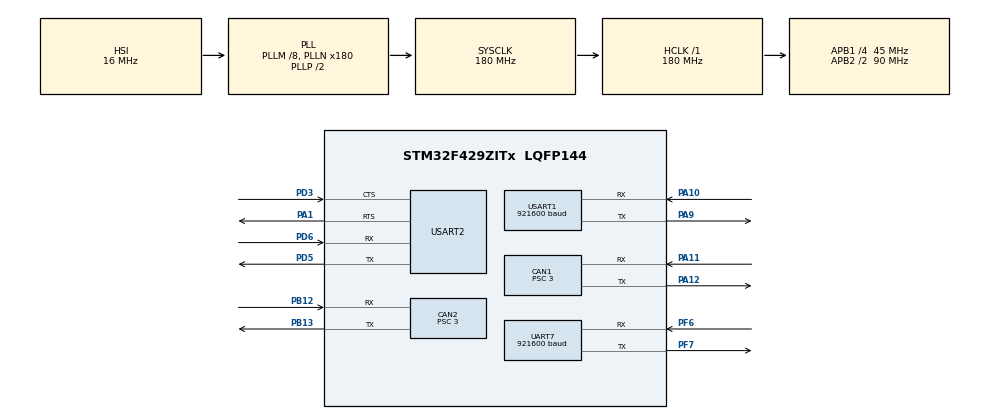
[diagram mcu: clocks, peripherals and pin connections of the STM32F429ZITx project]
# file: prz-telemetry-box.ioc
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CAN1.ABOM=ENABLE
CAN1.AWUM=ENABLE
CAN1.BS1=CAN_BS1_12TQ
CAN1.BS2=CAN_BS2_2TQ
CAN1.CalculateBaudRate=1000000
CAN1.CalculateTimeBit=1000
CAN1.CalculateTimeQuantum=66.66666666666666
CAN1.Mode=CAN_MODE_SILENT
CAN1.NART=ENABLE
CAN1.Prescaler=3
CAN2.ABOM=ENABLE
CAN2.AWUM=ENABLE
CAN2.BS1=CAN_BS1_12TQ
CAN2.BS2=CAN_BS2_2TQ
CAN2.CalculateBaudRate=1000000
CAN2.CalculateTimeBit=1000
CAN2.CalculateTimeQuantum=66.66666666666666
CAN2.Mode=CAN_MODE_NORMAL
CAN2.NART=ENABLE
CAN2.Prescaler=3
Dma.Request0=USART2_RX
Dma.Request1=UART7_RX
Dma.Request2=USART1_RX
Dma.UART7_RX.1.Direction=DMA_PERIPH_TO_MEMORY
Dma.UART7_RX.1.FIFOMode=DMA_FIFOMODE_DISABLE
Dma.UART7_RX.1.Instance=DMA1_Stream3
Dma.UART7_RX.1.MemDataAlignment=DMA_MDATAALIGN_BYTE
Dma.UART7_RX.1.MemInc=DMA_MINC_ENABLE
Dma.UART7_RX.1.Mode=DMA_CIRCULAR
Dma.UART7_RX.1.PeriphDataAlignment=DMA_PDATAALIGN_BYTE
Dma.UART7_RX.1.PeriphInc=DMA_PINC_DISABLE
Dma.UART7_RX.1.Priority=DMA_PRIORITY_LOW
Dma.USART1_RX.2.Direction=DMA_PERIPH_TO_MEMORY
Dma.USART1_RX.2.FIFOMode=DMA_FIFOMODE_DISABLE
Dma.USART1_RX.2.Instance=DMA2_Stream2
Dma.USART1_RX.2.MemDataAlignment=DMA_MDATAALIGN_BYTE
Dma.USART1_RX.2.MemInc=DMA_MINC_ENABLE
Dma.USART1_RX.2.Mode=DMA_CIRCULAR
Dma.USART1_RX.2.PeriphDataAlignment=DMA_PDATAALIGN_BYTE
Dma.USART1_RX.2.PeriphInc=DMA_PINC_DISABLE
Dma.USART1_RX.2.Priority=DMA_PRIORITY_LOW
Dma.USART2_RX.0.Direction=DMA_PERIPH_TO_MEMORY
Dma.USART2_RX.0.FIFOMode=DMA_FIFOMODE_DISABLE
Dma.USART2_RX.0.Instance=DMA1_Stream5
Dma.USART2_RX.0.MemDataAlignment=DMA_MDATAALIGN_BYTE
Dma.USART2_RX.0.MemInc=DMA_MINC_ENABLE
Dma.USART2_RX.0.Mode=DMA_CIRCULAR
Dma.USART2_RX.0.PeriphDataAlignment=DMA_PDATAALIGN_BYTE
Dma.USART2_RX.0.PeriphInc=DMA_PINC_DISABLE
Dma.USART2_RX.0.Priority=DMA_PRIORITY_HIGH
Mcu.Family=STM32F4
Mcu.Name=STM32F429ZITx
Mcu.Package=LQFP144
NVIC.CAN1_RX0_IRQn=true\:0\:0\:false\:false\:true\:true\:true\:true
NVIC.CAN1_RX1_IRQn=true\:0\:0\:false\:false\:true\:true\:true\:true
NVIC.CAN1_SCE_IRQn=true\:0\:0\:false\:false\:true\:true\:true\:true
NVIC.CAN2_RX0_IRQn=true\:0\:0\:false\:false\:true\:true\:true\:true
NVIC.CAN2_RX1_IRQn=true\:0\:0\:false\:false\:true\:true\:true\:true
NVIC.CAN2_SCE_IRQn=true\:0\:0\:false\:false\:true\:true\:true\:true
NVIC.DMA1_Stream3_IRQn=true\:0\:0\:false\:false\:true\:false\:true\:true
NVIC.DMA1_Stream5_IRQn=true\:0\:0\:true\:false\:true\:false\:true\:true
NVIC.DMA2_Stream2_IRQn=true\:0\:0\:false\:false\:true\:false\:true\:true
NVIC.PriorityGroup=NVIC_PRIORITYGROUP_4
NVIC.TIM2_IRQn=true\:0\:0\:false\:false\:true\:true\:true\:true
NVIC.UART7_IRQn=true\:0\:0\:false\:false\:true\:true\:true\:true
NVIC.USART1_IRQn=true\:0\:0\:false\:false\:true\:true\:true\:true
NVIC.USART2_IRQn=true\:0\:0\:true\:false\:true\:true\:true\:true
PA1.Mode=CTS_RTS
PA1.Signal=USART2_RTS
PA10.Mode=Asynchronous
PA10.Signal=USART1_RX
PA11.Mode=CAN_Activate
PA11.Signal=CAN1_RX
PA12.Mode=CAN_Activate
PA12.Signal=CAN1_TX
PA9.Mode=Asynchronous
PA9.Signal=USART1_TX
PB12.Mode=CAN_Activate
PB12.Signal=CAN2_RX
PB13.Mode=CAN_Activate
PB13.Signal=CAN2_TX
PD3.Mode=CTS_RTS
PD3.Signal=USART2_CTS
PD5.Mode=Asynchronous
PD5.Signal=USART2_TX
PD6.Mode=Asynchronous
PD6.Signal=USART2_RX
PF6.Mode=Asynchronous
PF6.Signal=UART7_RX
PF7.Mode=Asynchronous
PF7.Signal=UART7_TX
ProjectManager.HeapSize=0x200
ProjectManager.StackSize=0x400
ProjectManager.TargetToolchain=STM32CubeIDE
RCC.48MHZClocksFreq_Value=90000000
RCC.AHBFreq_Value=180000000
RCC.APB1CLKDivider=RCC_HCLK_DIV4
RCC.APB1Freq_Value=45000000
RCC.APB1TimFreq_Value=90000000
RCC.APB2CLKDivider=RCC_HCLK_DIV2
RCC.APB2Freq_Value=90000000
RCC.APB2TimFreq_Value=180000000
RCC.CortexFreq_Value=180000000
RCC.HCLKFreq_Value=180000000
RCC.HSE_VALUE=25000000
RCC.HSI_VALUE=16000000
RCC.LSE_VALUE=32768
RCC.PLLM=8
RCC.PLLN=180
RCC.SYSCLKFreq_VALUE=180000000
RCC.SYSCLKSource=RCC_SYSCLKSOURCE_PLLCLK
RCC.VCOOutputFreq_Value=360000000
RTC.Format=RTC_FORMAT_BCD
UART7.BaudRate=921600
UART7.VirtualMode=Asynchronous
USART1.BaudRate=921600
USART1.VirtualMode=VM_ASYNC
USART2.OverSampling=UART_OVERSAMPLING_8
USART2.VirtualMode=VM_ASYNC
VP_RTC_VS_RTC_Activate.Mode=RTC_Enabled
VP_RTC_VS_RTC_Calendar.Mode=RTC_Calendar
VP_TIM2_VS_ClockSourceINT.Mode=Internal
board=custom

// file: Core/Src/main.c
/* USER CODE BEGIN Header */
/**
  ******************************************************************************
  * @file           : main.c
  * @brief          : Main program body
  ******************************************************************************
  * @attention
  *
  * Copyright (c) 2024 STMicroelectronics.
  * All rights reserved.
  *
  * This software is licensed under terms that can be found in the LICENSE file
  * in the root directory of this software component.
  * If no LICENSE file comes with this software, it is provided AS-IS.
  *
  ******************************************************************************
  */
/* USER CODE END Header */
#include "main.h"
#include "can.h"
#include "dma.h"
#include "rtc.h"
#include "tim.h"
#include "usart.h"
#include "gpio.h"

/* USER CODE BEGIN Includes */

//#include "../frame_collector/frame_collector.h"
#include "../circular_buffers/can_frames_cb.h"

/* USER CODE END Includes */

/* USER CODE BEGIN PV */

uart_receiver_t usart1_rcvr;
uart_receiver_t usart2_rcvr;
uart_receiver_t uart7_rcvr;

gsm_t gsm;

#define RX_BUF_SIZE 255
  	uint8_t rx_buf[RX_BUF_SIZE];
  	uint16_t rx_index = 0;

#define STR_BUF_SIZE 512
	uint8_t str[STR_BUF_SIZE];
	uint16_t len;

CAN_RxHeaderTypeDef can_rx_header;
uint8_t can_rx_data[8];

can_frames_cb_t can_frames_cb = {0};

#define UDP_BUFFER_SIZE 1490
#define UDP_BUFFER_COUNT 5

typedef struct {
	uint8_t data[UDP_BUFFER_SIZE + 1];
	uint16_t len;
} udp_buffer_t;

udp_buffer_t udp_buffer[UDP_BUFFER_COUNT] = {0};
uint8_t udp_buffer_head = 0;
uint8_t udp_buffer_tail = 0;

//frame_collector_t fc;

// TODO: this is for tests. Move it to a separate file if it works

static const uint16_t crctab[256] = {
    0x0000U,0x365EU,0x6CBCU,0x5AE2U,0xD978U,0xEF26U,0xB5C4U,0x839AU,
    0xFF89U,0xC9D7U,0x9335U,0xA56BU,0x26F1U,0x10AFU,0x4A4DU,0x7C13U,
    0xB26BU,0x8435U,0xDED7U,0xE889U,0x6B13U,0x5D4DU,0x07AFU,0x31F1U,
    0x4DE2U,0x7BBCU,0x215EU,0x1700U,0x949AU,0xA2C4U,0xF826U,0xCE78U,
    0x29AFU,0x1FF1U,0x4513U,0x734DU,0xF0D7U,0xC689U,0x9C6BU,0xAA35U,
    0xD626U,0xE078U,0xBA9AU,0x8CC4U,0x0F5EU,0x3900U,0x63E2U,0x55BCU,
    0x9BC4U,0xAD9AU,0xF778U,0xC126U,0x42BCU,0x74E2U,0x2E00U,0x185EU,
    0x644DU,0x5213U,0x08F1U,0x3EAFU,0xBD35U,0x8B6BU,0xD189U,0xE7D7U,
    0x535EU,0x6500U,0x3FE2U,0x09BCU,0x8A26U,0xBC78U,0xE69AU,0xD0C4U,
    0xACD7U,0x9A89U,0xC06BU,0xF635U,0x75AFU,0x43F1U,0x1913U,0x2F4DU,
    0xE135U,0xD76BU,0x8D89U,0xBBD7U,0x384DU,0x0E13U,0x54F1U,0x62AFU,
    0x1EBCU,0x28E2U,0x7200U,0x445EU,0xC7C4U,0xF19AU,0xAB78U,0x9D26U,
    0x7AF1U,0x4CAFU,0x164DU,0x2013U,0xA389U,0x95D7U,0xCF35U,0xF96BU,
    0x8578U,0xB326U,0xE9C4U,0xDF9AU,0x5C00U,0x6A5EU,0x30BCU,0x06E2U,
    0xC89AU,0xFEC4U,0xA426U,0x9278U,0x11E2U,0x27BCU,0x7D5EU,0x4B00U,
    0x3713U,0x014DU,0x5BAFU,0x6DF1U,0xEE6BU,0xD835U,0x82D7U,0xB489U,
    0xA6BCU,0x90E2U,0xCA00U,0xFC5EU,0x7FC4U,0x499AU,0x1378U,0x2526U,
    0x5935U,0x6F6BU,0x3589U,0x03D7U,0x804DU,0xB613U,0xECF1U,0xDAAFU,
    0x14D7U,0x2289U,0x786BU,0x4E35U,0xCDAFU,0xFBF1U,0xA113U,0x974DU,
    0xEB5EU,0xDD00U,0x87E2U,0xB1BCU,0x3226U,0x0478U,0x5E9AU,0x68C4U,
    0x8F13U,0xB94DU,0xE3AFU,0xD5F1U,0x566BU,0x6035U,0x3AD7U,0x0C89U,
    0x709AU,0x46C4U,0x1C26U,0x2A78U,0xA9E2U,0x9FBCU,0xC55EU,0xF300U,
    0x3D78U,0x0B26U,0x51C4U,0x679AU,0xE400U,0xD25EU,0x88BCU,0xBEE2U,
    0xC2F1U,0xF4AFU,0xAE4DU,0x9813U,0x1B89U,0x2DD7U,0x7735U,0x416BU,
    0xF5E2U,0xC3BCU,0x995EU,0xAF00U,0x2C9AU,0x1AC4U,0x4026U,0x7678U,
    0x0A6BU,0x3C35U,0x66D7U,0x5089U,0xD313U,0xE54DU,0xBFAFU,0x89F1U,
    0x4789U,0x71D7U,0x2B35U,0x1D6BU,0x9EF1U,0xA8AFU,0xF24DU,0xC413U,
    0xB800U,0x8E5EU,0xD4BCU,0xE2E2U,0x6178U,0x5726U,0x0DC4U,0x3B9AU,
    0xDC4DU,0xEA13U,0xB0F1U,0x86AFU,0x0535U,0x336BU,0x6989U,0x5FD7U,
    0x23C4U,0x159AU,0x4F78U,0x7926U,0xFABCU,0xCCE2U,0x9600U,0xA05EU,
    0x6E26U,0x5878U,0x029AU,0x34C4U,0xB75EU,0x8100U,0xDBE2U,0xEDBCU,
    0x91AFU,0xA7F1U,0xFD13U,0xCB4DU,0x48D7U,0x7E89U,0x246BU,0x1235U,
};

// Automatically generated CRC function
// polynomial: 0x13D65, bit reverse algorithm
uint16_t crc16(uint8_t *data, int len)
{

    uint16_t crc = 0xFFFF;
    crc = crc ^ 0xFFFFU;
    while (len > 0)
    {
        crc = crctab[*data ^ (uint8_t)crc] ^ (crc >> 8);
        data++;
        len--;
    }
    crc = crc ^ 0xFFFFU;
    return crc;
}

/* USER CODE END PV */

void SystemClock_Config(void);

int main(void)
{

  /* MCU Configuration--------------------------------------------------------*/

  /* Reset of all peripherals, Initializes the Flash interface and the Systick. */
  HAL_Init();

  /* Configure the system clock */
  SystemClock_Config();

  /* Initialize all configured peripherals */
  MX_GPIO_Init();
  MX_DMA_Init();
  MX_USART1_UART_Init();
  MX_USART2_UART_Init();
  MX_TIM2_Init();
  MX_UART7_Init();
  MX_CAN1_Init();
  MX_CAN2_Init();
  MX_RTC_Init();
  /* USER CODE BEGIN 2 */

	UartRcvr_init(&usart1_rcvr, &huart1);
	UartRcvr_init(&usart2_rcvr, &huart2);
	UartRcvr_init(&uart7_rcvr, &huart7);

	prints("PRz Telemetry Box 4.1\r\n");

	HAL_Delay(1000);

//	if (FC_Init(&fc) == 0) {
//		prints("FC_Init failed\r\n");
//		Error_Handler();
//	}

	FT_ERR ft_err = FT_InitCustom(&ft, &huart1, &htim2, 10000);
	if(ft_err != FT_OK)
	{
		prints("FT_InitCustom failed\r\n");
		Error_Handler();
	}
  /* USER CODE END 2 */

  /* Infinite loop */
  /* USER CODE BEGIN WHILE */

	FT_PrintConfiguration(ft, (char*)str, 2048);
	prints((char*) str);

	GSM_ERR gsm_err = GSM_Init(&gsm, ft, &usart2_rcvr, &usart1_rcvr, &uart7_rcvr);
	if (gsm_err != GSM_OK) {
		prints("GSM_Init failed\r\n");
		Error_Handler();
	}

	CAN_TxHeaderTypeDef can_tx_header;
	uint8_t can_tx_data[8];

	can_tx_header.StdId = 0x123;
	can_tx_header.ExtId = 0;
	can_tx_header.DLC = 1;
	can_tx_header.IDE = CAN_ID_STD;
	can_tx_header.RTR = CAN_RTR_DATA;
	can_tx_header.TransmitGlobalTime = DISABLE;

	can_tx_data[0] = 0xAA;

	uint32_t can_tx_mailbox1, can_tx_mailbox2;

	prints("Sending CAN messages\r\n");
	HAL_CAN_AddTxMessage(&hcan1, &can_tx_header, can_tx_data, &can_tx_mailbox1);
	HAL_CAN_AddTxMessage(&hcan2, &can_tx_header, can_tx_data, &can_tx_mailbox2);

	// let the GSM module initialize
	while ((gsm_err = GSM_Feed(&gsm)) != GSM_IDLE) {
		if (gsm_err == GSM_NOT_INITIALIZED || gsm_err == GSM_INVALID_ARGUMENT) {
			prints("GSM_Feed failed\r\n");
		}
	}

	can_frame_t can_frame;
	uint8_t data_frame[16];
	uint32_t last_interface_announcement = 0;
	uint8_t can_silenced = 0;
	while (1)
	{
		gsm_err = GSM_Feed(&gsm);
		while (CFCB_Pop(&can_frames_cb, &can_frame) == 1)
		{
			if (can_frame.len > 8)
			{
				prints("\r\n! can_frame.len > 8 !\r\n");
				continue;
			}

			if (can_frame.id == 0x3E6)
			{
				// CAN go silent mode
				prints("CAN go silent mode\r\n");
				hcan2.Instance->MCR |= CAN_MCR_INRQ; // request to enter initialization mode
				while ((hcan2.Instance->MSR & CAN_MSR_INAK) == 0); // wait for initialization mode
				hcan2.Instance->BTR |= CAN_BTR_SILM;
				hcan2.Instance->MCR &= ~CAN_MCR_INRQ; // exit initialization mode
				can_silenced = 1;
				last_interface_announcement = gsm.time_count;
			}
			else if(can_silenced && gsm.time_count - last_interface_announcement > 50) // 5s
			{
				// CAN go silent mode
				prints("CAN go BRRRR\r\n");
				hcan2.Instance->MCR |= CAN_MCR_INRQ; // request to enter initialization mode
				while ((hcan2.Instance->MSR & CAN_MSR_INAK) == 0); // wait for initialization mode
				hcan2.Instance->BTR &= ~CAN_BTR_SILM;
				hcan2.Instance->MCR &= ~CAN_MCR_INRQ; // exit initialization mode
				can_silenced = 0;
			}

			if(gsm_err == GSM_IDLE)
			{
				data_frame[0] = 0xCF;
				data_frame[1] = can_frame.len + 6;
				uint16_t buffer_size = CFCB_GetSize(&can_frames_cb);
				data_frame[2] = buffer_size & 0xFF;
				data_frame[3] = (buffer_size >> 8) & 0xFF;
				data_frame[4] = can_frame.id & 0xFF;
				data_frame[5] = (can_frame.id >> 8) & 0xFF;
				memcpy(data_frame + 6, can_frame.data, can_frame.len);
				uint16_t crc = crc16(data_frame, 6 + can_frame.len);
				data_frame[6 + can_frame.len] = crc & 0xFF;
				data_frame[7 + can_frame.len] = (crc >> 8) & 0xFF;

				GSM_SendTCP(&gsm, data_frame, can_frame.len + 8);
			}

						//GSM_SendTCPString(&gsm, "ABCDEFGHIJKLMNOPRSTUVWXYZabcdefghijklmnopqrstuvwxzABCDEFGHIJKLMNOPRSTUVWXYZabcdefghijklmnopqrstuvwxzABCDEFGHIJKLMNOPRSTUVWXYZabcdefghijklmnopqrstuvwxzABCDEFGHIJKLMNOPRSTUVWXYZabcdefghijklmnopqrstuvwxzABCDEFGHIJKLMNOPRSTUVWXYZabcdefghijklmnopqrstuvwxzABCDEFGHIJKLMNOPRSTUVWXYZabcdefghijklmnopqrstuvwxzABCDEFGHIJKLMNOPRSTUVWXYZabcdefghijklmnopqrstuvwxzABCDEFGHIJKLMNOPRSTUVWXYZabcdefghijklmnopqrstuvwxzABCDEFGHIJKLMNOPRSTUVWXYZabcdefghijklmnopqrstuvwxzABCDEFGHIJKLMNOPRSTUVWXYZabcdefghijklmnopqrstuvwxzABCDEFGHIJKLMNOPRSTUVWXYZabcdefghijklmnopqrstuvwxzABCDEFGHIJKLMNOPRSTUVWXYZabcdefghijklmnopqrstuvwxzABCDEFGHIJKLMNOPRSTUVWXYZabcdefghijklmnopqrstuvwxzABCDEFGHIJKLMNOPRSTUVWXYZabcdefghijklmnopqrstuvwxzABCDEFGHIJKLMNOPRSTUVWXYZabcdefghijklmnopqrstuvwxzABCDEFGHIJKLMNOPRSTUVWXYZabcdefghijklmnopqrstuvwxzABCDEFGHIJKLMNOPRSTUVWXYZabcdefghijklmnopqrstuvwxzABCDEFGHIJKLMNOPRSTUVWXYZabcdefghijklmnopqrstuvwxzABCDEFGHIJKLMNOPRSTUVWXYZabcdefghijklmnopqrstuvwxzABCDEFGHIJKLMNOPRSTUVWXYZabcdefghijklmnopqrstuvwxzABCDEFGHIJKLMNOPRSTUVWXYZabcdefghijklmnopqrstuvwxzABCDEFGHIJKLMNOPRSTUVWXYZabcdefghijklmnopqrstuvwxzABCDEFGHIJKLMNOPRSTUVWXYZabcdefghijklmnopqrstuvwxzABCDEFGHIJKLMNOPRSTUVWXYZabcdefghijklmnopqrstuvwxzABCDEFGHIJKLMNOPRSTUVWXYZabcdefghijklmnopqrstuvwxzABCDEFGHIJKLMNOPRSTUVWXYZabcdefghijklmnopqrstuvwxzABCDEFGHIJKLMNOPRSTUVWXYZabcdefghijklmnopqrstuvwxzABCDEFGHIJKLMNOPRSTUVWXYZabcdefghijklmnopqrstuvwxzABCDEFGHIJKLMNOPRSTUVWXYZabcdefghijklmnopqrstuvwxzABCDEFGHIJKLMNOPRSTUVWXYZ");

			//FC_FeedFrame(&fc, can_frame.id, can_frame.len, can_frame.data);
//			if (udp_buffer[udp_buffer_head].len + can_frame.len + 3 >= UDP_BUFFER_SIZE) {
//				if ((udp_buffer_head + 1) % UDP_BUFFER_COUNT == udp_buffer_tail)
//				{
//					prints("TCP buffer full\r\n");
//					break;
//				}
//				udp_buffer_head = (udp_buffer_head + 1) % UDP_BUFFER_COUNT;
//				udp_buffer[udp_buffer_head].len = 0;
//			}
//			else
//			{
//				udp_buffer[udp_buffer_head].data[udp_buffer[udp_buffer_head].len++] = can_frame.id & 0xFF;
//				udp_buffer[udp_buffer_head].data[udp_buffer[udp_buffer_head].len++] = can_frame.len & 0xFF;
//				memcpy(udp_buffer[udp_buffer_head].data + udp_buffer[udp_buffer_head].len, can_frame.data, can_frame.len);
//				udp_buffer[udp_buffer_head].len += can_frame.len;
//			}
		}

//		if(gsm_err == GSM_IDLE)
//		{
//			if (udp_buffer_head != udp_buffer_tail)
//			{
//				GSM_SendTCP(&gsm, udp_buffer[udp_buffer_tail].data, udp_buffer[udp_buffer_tail].len);
//				udp_buffer_tail = (udp_buffer_tail + 1) % UDP_BUFFER_COUNT;
//			}
//			uint8_t frame[12];
//			frame[0] = 0xCF;
//			frame[1] = 10;
//			frame[2] = frame_counter & 0xFF;
//			frame[3] = (frame_counter >> 8) & 0xFF;
//			frame[4] = (frame_counter >> 16) & 0xFF;
//			frame[5] = (frame_counter >> 24) & 0xFF;
//			frame[6] = 0xA5;
//			frame[7] = 0x5A;
//			frame[8] = 'h';
//			frame[9] = 'e';
//			uint16_t crc = crc16(frame, 10);
//			frame[10] = crc & 0xFF;
//			frame[11] = (crc >> 8) & 0xFF;
//
//			GSM_SendTCP(&gsm, frame, 12);
//
//			frame_counter++;

			//GSM_SendTCPString(&gsm, "ABCDEFGHIJKLMNOPRSTUVWXYZabcdefghijklmnopqrstuvwxzABCDEFGHIJKLMNOPRSTUVWXYZabcdefghijklmnopqrstuvwxzABCDEFGHIJKLMNOPRSTUVWXYZabcdefghijklmnopqrstuvwxzABCDEFGHIJKLMNOPRSTUVWXYZabcdefghijklmnopqrstuvwxzABCDEFGHIJKLMNOPRSTUVWXYZabcdefghijklmnopqrstuvwxzABCDEFGHIJKLMNOPRSTUVWXYZabcdefghijklmnopqrstuvwxzABCDEFGHIJKLMNOPRSTUVWXYZabcdefghijklmnopqrstuvwxzABCDEFGHIJKLMNOPRSTUVWXYZabcdefghijklmnopqrstuvwxzABCDEFGHIJKLMNOPRSTUVWXYZabcdefghijklmnopqrstuvwxzABCDEFGHIJKLMNOPRSTUVWXYZabcdefghijklmnopqrstuvwxzABCDEFGHIJKLMNOPRSTUVWXYZabcdefghijklmnopqrstuvwxzABCDEFGHIJKLMNOPRSTUVWXYZabcdefghijklmnopqrstuvwxzABCDEFGHIJKLMNOPRSTUVWXYZabcdefghijklmnopqrstuvwxzABCDEFGHIJKLMNOPRSTUVWXYZabcdefghijklmnopqrstuvwxzABCDEFGHIJKLMNOPRSTUVWXYZabcdefghijklmnopqrstuvwxzABCDEFGHIJKLMNOPRSTUVWXYZabcdefghijklmnopqrstuvwxzABCDEFGHIJKLMNOPRSTUVWXYZabcdefghijklmnopqrstuvwxzABCDEFGHIJKLMNOPRSTUVWXYZabcdefghijklmnopqrstuvwxzABCDEFGHIJKLMNOPRSTUVWXYZabcdefghijklmnopqrstuvwxzABCDEFGHIJKLMNOPRSTUVWXYZabcdefghijklmnopqrstuvwxzABCDEFGHIJKLMNOPRSTUVWXYZabcdefghijklmnopqrstuvwxzABCDEFGHIJKLMNOPRSTUVWXYZabcdefghijklmnopqrstuvwxzABCDEFGHIJKLMNOPRSTUVWXYZabcdefghijklmnopqrstuvwxzABCDEFGHIJKLMNOPRSTUVWXYZabcdefghijklmnopqrstuvwxzABCDEFGHIJKLMNOPRSTUVWXYZabcdefghijklmnopqrstuvwxzABCDEFGHIJKLMNOPRSTUVWXYZabcdefghijklmnopqrstuvwxzABCDEFGHIJKLMNOPRSTUVWXYZabcdefghijklmnopqrstuvwxzABCDEFGHIJKLMNOPRSTUVWXYZabcdefghijklmnopqrstuvwxzABCDEFGHIJKLMNOPRSTUVWXYZabcdefghijklmnopqrstuvwxzABCDEFGHIJKLMNOPRSTUVWXYZ");
//		}
//		else {
//			char buf[20];
//			snprintf(buf, 20, "%04X\r\n", gsm_err);
//			GSM_Prints(&gsm, buf);
//		}

		if(UartRcvr_available(&usart1_rcvr))
		{
			len = UartRcvr_get_input(&usart1_rcvr, rx_buf + rx_index, RX_BUF_SIZE - rx_index - 1);
			if(len == 0) continue;
			rx_index += len;
			if (rx_buf[rx_index - 1] == '\n' || rx_buf[rx_index - 1] == '\r') {
				rx_buf[rx_index - 1] = 0;
				rx_index = 0;
			}
			else continue;

			prints("U1: ");
			prints((char*) rx_buf);
			prints("\r\n");

//			uint32_t baud_rate = atoi((char*) rx_buf);
//			if (baud_rate == 115200 || baud_rate == 921600)
//			{
//				snprintf((char*) str, STR_BUF_SIZE, "Changing baud rate to %ld\r\n", baud_rate);
//				prints((char*) str);
//				UartRcvr_set_baud_rate(&usart2_rcvr, baud_rate);
//			}
//			else
//			{
				//while ((gsm_err = GSM_Feed(&gsm)) != GSM_IDLE) {}

			snprintf((char*) str, STR_BUF_SIZE, "%s\r\n", rx_buf);
			GSM_at(&gsm, (const char*)str, 0, 1000);
//			}

		}
//		while(UartRcvr_available(&usart2_rcvr))
//		{
//			len = UartRcvr_get_input(&usart2_rcvr, str, STR_BUF_SIZE - 1);
//			if (len == 0) continue;
//			str[len] = 0;
//			prints("GSM: ");
//			prints((char*) str);
//			prints("\r\n");
//		}

    /* USER CODE END WHILE */

  }
}

void SystemClock_Config(void)
{
  RCC_OscInitTypeDef RCC_OscInitStruct = {0};
  RCC_ClkInitTypeDef RCC_ClkInitStruct = {0};

  /** Configure the main internal regulator output voltage
  */
  __HAL_RCC_PWR_CLK_ENABLE();
  __HAL_PWR_VOLTAGESCALING_CONFIG(PWR_REGULATOR_VOLTAGE_SCALE1);

  /** Initializes the RCC Oscillators according to the specified parameters
  * in the RCC_OscInitTypeDef structure.
  */
  RCC_OscInitStruct.OscillatorType = RCC_OSCILLATORTYPE_HSI|RCC_OSCILLATORTYPE_LSI;
  RCC_OscInitStruct.HSIState = RCC_HSI_ON;
  RCC_OscInitStruct.HSICalibrationValue = RCC_HSICALIBRATION_DEFAULT;
  RCC_OscInitStruct.LSIState = RCC_LSI_ON;
  RCC_OscInitStruct.PLL.PLLState = RCC_PLL_ON;
  RCC_OscInitStruct.PLL.PLLSource = RCC_PLLSOURCE_HSI;
  RCC_OscInitStruct.PLL.PLLM = 8;
  RCC_OscInitStruct.PLL.PLLN = 180;
  RCC_OscInitStruct.PLL.PLLP = RCC_PLLP_DIV2;
  RCC_OscInitStruct.PLL.PLLQ = 4;
  if (HAL_RCC_OscConfig(&RCC_OscInitStruct) != HAL_OK)
  {
    Error_Handler();
  }

  /** Activate the Over-Drive mode
  */
  if (HAL_PWREx_EnableOverDrive() != HAL_OK)
  {
    Error_Handler();
  }

  /** Initializes the CPU, AHB and APB buses clocks
  */
  RCC_ClkInitStruct.ClockType = RCC_CLOCKTYPE_HCLK|RCC_CLOCKTYPE_SYSCLK
                              |RCC_CLOCKTYPE_PCLK1|RCC_CLOCKTYPE_PCLK2;
  RCC_ClkInitStruct.SYSCLKSource = RCC_SYSCLKSOURCE_PLLCLK;
  RCC_ClkInitStruct.AHBCLKDivider = RCC_SYSCLK_DIV1;
  RCC_ClkInitStruct.APB1CLKDivider = RCC_HCLK_DIV4;
  RCC_ClkInitStruct.APB2CLKDivider = RCC_HCLK_DIV2;

  if (HAL_RCC_ClockConfig(&RCC_ClkInitStruct, FLASH_LATENCY_5) != HAL_OK)
  {
    Error_Handler();
  }
}

/* USER CODE BEGIN 4 */

void HAL_CAN_RxFifo0MsgPendingCallback(CAN_HandleTypeDef *hcan)
{
	if(HAL_CAN_GetRxMessage(hcan, CAN_RX_FIFO0, &can_rx_header, can_rx_data) == HAL_OK)
	{
		can_frames_cb.counter++;
//		char str_illegal[8];
//		snprintf(str_illegal, 8, "%03x\r\n", (uint16_t)(can_rx_header.StdId));
//		prints(str_illegal);
//		prints("_");
		if(CFCB_Push(&can_frames_cb, can_rx_header.StdId, can_rx_header.DLC, can_rx_data) == 0)
		{
			prints(".");
		}
	}

}

void HAL_UARTEx_RxEventCallback(UART_HandleTypeDef *huart, uint16_t size)
{
    if(huart->Instance == USART1)
    {
    	UartRcvr_it_trigger(&usart1_rcvr, size);
    	if(huart->RxEventType == HAL_UART_RXEVENT_IDLE)
    	{
    		UartRcvr_it_swap(&usart1_rcvr);
    	}
    }
    else if (huart->Instance == USART2)
    {
    	UartRcvr_it_trigger(&usart2_rcvr, size);
    	if(huart->RxEventType == HAL_UART_RXEVENT_IDLE)
    	{
    		UartRcvr_it_swap(&usart2_rcvr);
    	}
	}
    else if (huart->Instance == UART7) {
		UartRcvr_it_trigger(&uart7_rcvr, size);
		if (huart->RxEventType == HAL_UART_RXEVENT_IDLE)
		{
			UartRcvr_it_swap(&uart7_rcvr);
		}
	}
}

void HAL_UART_ErrorCallback(UART_HandleTypeDef *huart) {
	if (huart->Instance == USART1) {
		UartRcvr_it_error(&usart1_rcvr);
	} else if (huart->Instance == USART2) {
		UartRcvr_it_error(&usart2_rcvr);
	} else if (huart->Instance == UART7) {
		UartRcvr_it_error(&uart7_rcvr);
	}
}

HAL_StatusTypeDef prints(const char* str)
{
	return UartRcvr_print(&usart1_rcvr, str);
}

/* USER CODE END 4 */

void Error_Handler(void)
{
  /* USER CODE BEGIN Error_Handler_Debug */
  /* User can add his own implementation to report the HAL error return state */
	__disable_irq();
	prints("Error_Handler\r\n");
	HAL_Delay(10000);
	// restart the MCU
	NVIC_SystemReset();
  while (1)
  {
  }
  /* USER CODE END Error_Handler_Debug */
}
